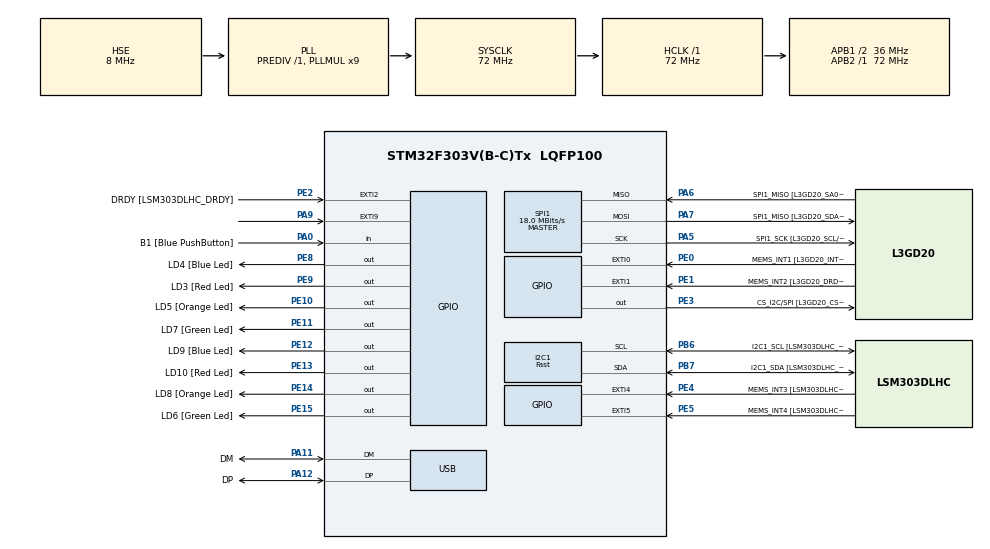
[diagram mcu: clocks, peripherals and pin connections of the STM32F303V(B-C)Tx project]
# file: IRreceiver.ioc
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I2C1.I2C_Speed_Mode=I2C_Fast
I2C1.Timing=0x0000020B
I2C1.Timing-I2C=0x2000090E
Mcu.Family=STM32F3
Mcu.Name=STM32F303V(B-C)Tx
Mcu.Package=LQFP100
NVIC.EXTI9_5_IRQn=true\:0\:0\:false\:false\:true\:true\:true\:true
NVIC.PriorityGroup=NVIC_PRIORITYGROUP_0
PA0.GPIO_Label=B1 [Blue PushButton]
PA0.Signal=GPIO_Input
PA11.GPIO_Label=DM
PA11.Mode=Device
PA11.Signal=USB_DM
PA12.GPIO_Label=DP
PA12.Mode=Device
PA12.Signal=USB_DP
PA13.GPIO_Label=SWDIO
PA13.Mode=Serial_Wire
PA13.Signal=SYS_JTMS-SWDIO
PA14.GPIO_Label=SWCLK
PA14.Mode=Serial_Wire
PA14.Signal=SYS_JTCK-SWCLK
PA5.GPIO_Label=SPI1_SCK [L3GD20_SCL/SPC]
PA5.Mode=Full_Duplex_Master
PA5.Signal=SPI1_SCK
PA6.GPIO_Label=SPI1_MISO [L3GD20_SA0/SDO]
PA6.Mode=Full_Duplex_Master
PA6.Signal=SPI1_MISO
PA7.GPIO_Label=SPI1_MISO [L3GD20_SDA/SDI/SDO]
PA7.Mode=Full_Duplex_Master
PA7.Signal=SPI1_MOSI
PA9.GPIO_ModeDefaultEXTI=GPIO_MODE_IT_FALLING
PA9.Signal=GPXTI9
PB3.GPIO_Label=SWO
PB3.Signal=SYS_JTDO-TRACESWO
PB6.GPIO_Label=I2C1_SCL [LSM303DLHC_SCL]
PB6.GPIO_Pu=GPIO_PULLUP
PB6.Mode=I2C
PB6.Signal=I2C1_SCL
PB7.GPIO_Label=I2C1_SDA [LSM303DLHC_SDA]
PB7.GPIO_Pu=GPIO_PULLUP
PB7.Mode=I2C
PB7.Signal=I2C1_SDA
PC14-OSC32_IN.GPIO_Label=OSC32_IN
PC14-OSC32_IN.Signal=RCC_OSC32_IN
PC15-OSC32_OUT.GPIO_Label=OSC32_OUT
PC15-OSC32_OUT.Signal=RCC_OSC32_OUT
PE0.GPIO_Label=MEMS_INT1 [L3GD20_INT1]
PE0.GPIO_ModeDefaultEXTI=GPIO_MODE_EVT_RISING
PE0.Signal=GPXTI0
PE1.GPIO_Label=MEMS_INT2 [L3GD20_DRDY/INT2]
PE1.GPIO_ModeDefaultEXTI=GPIO_MODE_EVT_RISING
PE1.Signal=GPXTI1
PE10.GPIO_Label=LD5 [Orange Led]
PE10.Signal=GPIO_Output
PE11.GPIO_Label=LD7 [Green Led]
PE11.Signal=GPIO_Output
PE12.GPIO_Label=LD9 [Blue Led]
PE12.Signal=GPIO_Output
PE13.GPIO_Label=LD10 [Red Led]
PE13.Signal=GPIO_Output
PE14.GPIO_Label=LD8 [Orange Led]
PE14.Signal=GPIO_Output
PE15.GPIO_Label=LD6 [Green Led]
PE15.Signal=GPIO_Output
PE2.GPIO_Label=DRDY [LSM303DLHC_DRDY]
PE2.GPIO_ModeDefaultEXTI=GPIO_MODE_EVT_RISING
PE2.Signal=GPXTI2
PE3.GPIO_Label=CS_I2C/SPI [L3GD20_CS_I2C/SPI]
PE3.Signal=GPIO_Output
PE4.GPIO_Label=MEMS_INT3 [LSM303DLHC_INT1]
PE4.GPIO_ModeDefaultEXTI=GPIO_MODE_EVT_RISING
PE4.Signal=GPXTI4
PE5.GPIO_Label=MEMS_INT4 [LSM303DLHC_INT2]
PE5.GPIO_ModeDefaultEXTI=GPIO_MODE_EVT_RISING
PE5.Signal=GPXTI5
PE8.GPIO_Label=LD4 [Blue Led]
PE8.Signal=GPIO_Output
PE9.GPIO_Label=LD3 [Red Led]
PE9.Signal=GPIO_Output
PF0-OSC_IN.GPIO_Label=OSC_IN
PF0-OSC_IN.Mode=HSE-External-Oscillator
PF0-OSC_IN.Signal=RCC_OSC_IN
PF1-OSC_OUT.GPIO_Label=OSC_OUT
PF1-OSC_OUT.Mode=HSE-External-Oscillator
PF1-OSC_OUT.Signal=RCC_OSC_OUT
ProjectManager.HeapSize=0x200
ProjectManager.StackSize=0x400
ProjectManager.TargetToolchain=STM32CubeIDE
RCC.AHBFreq_Value=72000000
RCC.APB1CLKDivider=RCC_HCLK_DIV2
RCC.APB1Freq_Value=36000000
RCC.APB1TimFreq_Value=72000000
RCC.APB2Freq_Value=72000000
RCC.APB2TimFreq_Value=72000000
RCC.CortexFreq_Value=72000000
RCC.HCLKFreq_Value=72000000
RCC.HSE_VALUE=8000000
RCC.HSI_VALUE=8000000
RCC.LSE_VALUE=32768
RCC.PLLMUL=RCC_PLL_MUL9
RCC.PRESCALERUSB=RCC_USBCLKSOURCE_PLL_DIV1_5
RCC.SYSCLKFreq_VALUE=72000000
RCC.SYSCLKSourceVirtual=RCC_SYSCLKSOURCE_PLLCLK
RCC.USBFreq_Value=48000000
SPI1.BaudRatePrescaler=SPI_BAUDRATEPRESCALER_4
SPI1.BaudRatePrescaler-Full_Duplex_Master=SPI_BAUDRATEPRESCALER_2
SPI1.CalculateBaudRate=18.0 MBits/s
SPI1.CalculateBaudRate-Full_Duplex_Master=24.0 MBits/s
SPI1.Direction=SPI_DIRECTION_2LINES
SPI1.Mode=SPI_MODE_MASTER
SPI1.Mode-Full_Duplex_Master=SPI_MODE_MASTER
SPI1.VirtualType=VM_MASTER
TIM1.Prescaler=71
VP_TIM1_VS_ClockSourceINT.Mode=Internal
board=STM32F3DISCOVERY

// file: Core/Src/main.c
/* USER CODE BEGIN Header */
/**
  ******************************************************************************
  * @file           : main.c
  * @brief          : Main program body
  ******************************************************************************
  * @attention
  *
  * Copyright (c) 2023 STMicroelectronics.
  * All rights reserved.
  *
  * This software is licensed under terms that can be found in the LICENSE file
  * in the root directory of this software component.
  * If no LICENSE file comes with this software, it is provided AS-IS.
  *
  ******************************************************************************
  */
/* USER CODE END Header */
#include "main.h"

/* USER CODE BEGIN Includes */
#include "lcd.h"
/* USER CODE END Includes */

I2C_HandleTypeDef hi2c1;

SPI_HandleTypeDef hspi1;

TIM_HandleTypeDef htim1;

PCD_HandleTypeDef hpcd_USB_FS;

/* USER CODE BEGIN PV */
uint32_t tempCode;
uint8_t bitIndex;
uint8_t cmd;
uint8_t cmdli;
uint32_t code;
/* USER CODE END PV */

void SystemClock_Config(void);
static void MX_GPIO_Init(void);
static void MX_I2C1_Init(void);
static void MX_SPI1_Init(void);
static void MX_USB_PCD_Init(void);
static void MX_TIM1_Init(void);

int main(void)
{

	/* MCU Configuration--------------------------------------------------------*/

	/* Reset of all peripherals, Initializes the Flash interface and the Systick. */
	HAL_Init();

	/* Configure the system clock */
	SystemClock_Config();

	/* Initialize all configured peripherals */
	MX_GPIO_Init();
	MX_I2C1_Init();
	MX_SPI1_Init();
	MX_USB_PCD_Init();
	MX_TIM1_Init();
	/* USER CODE BEGIN 2 */

	RCC->AHBENR |= RCC_AHBENR_GPIOEEN | RCC_AHBENR_GPIODEN;
	initialise_board();

	HAL_TIM_Base_Start(&htim1);
	__HAL_TIM_SET_COUNTER(&htim1, 0);

	/* USER CODE END 2 */

	/* Infinite loop */
	while (1)
	{

	}
}

void SystemClock_Config(void)
{
  RCC_OscInitTypeDef RCC_OscInitStruct = {0};
  RCC_ClkInitTypeDef RCC_ClkInitStruct = {0};
  RCC_PeriphCLKInitTypeDef PeriphClkInit = {0};

  /** Initializes the RCC Oscillators according to the specified parameters
  * in the RCC_OscInitTypeDef structure.
  */
  RCC_OscInitStruct.OscillatorType = RCC_OSCILLATORTYPE_HSI|RCC_OSCILLATORTYPE_HSE;
  RCC_OscInitStruct.HSEState = RCC_HSE_ON;
  RCC_OscInitStruct.HSEPredivValue = RCC_HSE_PREDIV_DIV1;
  RCC_OscInitStruct.HSIState = RCC_HSI_ON;
  RCC_OscInitStruct.HSICalibrationValue = RCC_HSICALIBRATION_DEFAULT;
  RCC_OscInitStruct.PLL.PLLState = RCC_PLL_ON;
  RCC_OscInitStruct.PLL.PLLSource = RCC_PLLSOURCE_HSE;
  RCC_OscInitStruct.PLL.PLLMUL = RCC_PLL_MUL9;
  if (HAL_RCC_OscConfig(&RCC_OscInitStruct) != HAL_OK)
  {
    Error_Handler();
  }

  /** Initializes the CPU, AHB and APB buses clocks
  */
  RCC_ClkInitStruct.ClockType = RCC_CLOCKTYPE_HCLK|RCC_CLOCKTYPE_SYSCLK
                              |RCC_CLOCKTYPE_PCLK1|RCC_CLOCKTYPE_PCLK2;
  RCC_ClkInitStruct.SYSCLKSource = RCC_SYSCLKSOURCE_PLLCLK;
  RCC_ClkInitStruct.AHBCLKDivider = RCC_SYSCLK_DIV1;
  RCC_ClkInitStruct.APB1CLKDivider = RCC_HCLK_DIV2;
  RCC_ClkInitStruct.APB2CLKDivider = RCC_HCLK_DIV1;

  if (HAL_RCC_ClockConfig(&RCC_ClkInitStruct, FLASH_LATENCY_2) != HAL_OK)
  {
    Error_Handler();
  }
  PeriphClkInit.PeriphClockSelection = RCC_PERIPHCLK_USB|RCC_PERIPHCLK_I2C1
                              |RCC_PERIPHCLK_TIM1;
  PeriphClkInit.I2c1ClockSelection = RCC_I2C1CLKSOURCE_HSI;
  PeriphClkInit.USBClockSelection = RCC_USBCLKSOURCE_PLL_DIV1_5;
  PeriphClkInit.Tim1ClockSelection = RCC_TIM1CLK_HCLK;
  if (HAL_RCCEx_PeriphCLKConfig(&PeriphClkInit) != HAL_OK)
  {
    Error_Handler();
  }
}

static void MX_I2C1_Init(void)
{

  hi2c1.Instance = I2C1;
  hi2c1.Init.Timing = 0x0000020B;
  hi2c1.Init.OwnAddress1 = 0;
  hi2c1.Init.AddressingMode = I2C_ADDRESSINGMODE_7BIT;
  hi2c1.Init.DualAddressMode = I2C_DUALADDRESS_DISABLE;
  hi2c1.Init.OwnAddress2 = 0;
  hi2c1.Init.OwnAddress2Masks = I2C_OA2_NOMASK;
  hi2c1.Init.GeneralCallMode = I2C_GENERALCALL_DISABLE;
  hi2c1.Init.NoStretchMode = I2C_NOSTRETCH_DISABLE;
  if (HAL_I2C_Init(&hi2c1) != HAL_OK)
  {
    Error_Handler();
  }

  /** Configure Analogue filter
  */
  if (HAL_I2CEx_ConfigAnalogFilter(&hi2c1, I2C_ANALOGFILTER_ENABLE) != HAL_OK)
  {
    Error_Handler();
  }

  /** Configure Digital filter
  */
  if (HAL_I2CEx_ConfigDigitalFilter(&hi2c1, 0) != HAL_OK)
  {
    Error_Handler();
  }

}

static void MX_SPI1_Init(void)
{

  /* SPI1 parameter configuration*/
  hspi1.Instance = SPI1;
  hspi1.Init.Mode = SPI_MODE_MASTER;
  hspi1.Init.Direction = SPI_DIRECTION_2LINES;
  hspi1.Init.DataSize = SPI_DATASIZE_4BIT;
  hspi1.Init.CLKPolarity = SPI_POLARITY_LOW;
  hspi1.Init.CLKPhase = SPI_PHASE_1EDGE;
  hspi1.Init.NSS = SPI_NSS_SOFT;
  hspi1.Init.BaudRatePrescaler = SPI_BAUDRATEPRESCALER_4;
  hspi1.Init.FirstBit = SPI_FIRSTBIT_MSB;
  hspi1.Init.TIMode = SPI_TIMODE_DISABLE;
  hspi1.Init.CRCCalculation = SPI_CRCCALCULATION_DISABLE;
  hspi1.Init.CRCPolynomial = 7;
  hspi1.Init.CRCLength = SPI_CRC_LENGTH_DATASIZE;
  hspi1.Init.NSSPMode = SPI_NSS_PULSE_ENABLE;
  if (HAL_SPI_Init(&hspi1) != HAL_OK)
  {
    Error_Handler();
  }

}

static void MX_TIM1_Init(void)
{

  TIM_ClockConfigTypeDef sClockSourceConfig = {0};
  TIM_MasterConfigTypeDef sMasterConfig = {0};

  htim1.Instance = TIM1;
  htim1.Init.Prescaler = 71;
  htim1.Init.CounterMode = TIM_COUNTERMODE_UP;
  htim1.Init.Period = 65535;
  htim1.Init.ClockDivision = TIM_CLOCKDIVISION_DIV1;
  htim1.Init.RepetitionCounter = 0;
  htim1.Init.AutoReloadPreload = TIM_AUTORELOAD_PRELOAD_DISABLE;
  if (HAL_TIM_Base_Init(&htim1) != HAL_OK)
  {
    Error_Handler();
  }
  sClockSourceConfig.ClockSource = TIM_CLOCKSOURCE_INTERNAL;
  if (HAL_TIM_ConfigClockSource(&htim1, &sClockSourceConfig) != HAL_OK)
  {
    Error_Handler();
  }
  sMasterConfig.MasterOutputTrigger = TIM_TRGO_RESET;
  sMasterConfig.MasterOutputTrigger2 = TIM_TRGO2_RESET;
  sMasterConfig.MasterSlaveMode = TIM_MASTERSLAVEMODE_DISABLE;
  if (HAL_TIMEx_MasterConfigSynchronization(&htim1, &sMasterConfig) != HAL_OK)
  {
    Error_Handler();
  }

}

static void MX_USB_PCD_Init(void)
{

  hpcd_USB_FS.Instance = USB;
  hpcd_USB_FS.Init.dev_endpoints = 8;
  hpcd_USB_FS.Init.speed = PCD_SPEED_FULL;
  hpcd_USB_FS.Init.phy_itface = PCD_PHY_EMBEDDED;
  hpcd_USB_FS.Init.low_power_enable = DISABLE;
  hpcd_USB_FS.Init.battery_charging_enable = DISABLE;
  if (HAL_PCD_Init(&hpcd_USB_FS) != HAL_OK)
  {
    Error_Handler();
  }

}

static void MX_GPIO_Init(void)
{
  GPIO_InitTypeDef GPIO_InitStruct = {0};

  /* GPIO Ports Clock Enable */
  __HAL_RCC_GPIOE_CLK_ENABLE();
  __HAL_RCC_GPIOC_CLK_ENABLE();
  __HAL_RCC_GPIOF_CLK_ENABLE();
  __HAL_RCC_GPIOA_CLK_ENABLE();
  __HAL_RCC_GPIOB_CLK_ENABLE();

  /*Configure GPIO pin Output Level */
  HAL_GPIO_WritePin(GPIOE, CS_I2C_SPI_Pin|LD4_Pin|LD3_Pin|LD5_Pin
                          |LD7_Pin|LD9_Pin|LD10_Pin|LD8_Pin
                          |LD6_Pin, GPIO_PIN_RESET);

  /*Configure GPIO pins : DRDY_Pin MEMS_INT3_Pin MEMS_INT4_Pin MEMS_INT1_Pin
                           MEMS_INT2_Pin */
  GPIO_InitStruct.Pin = DRDY_Pin|MEMS_INT3_Pin|MEMS_INT4_Pin|MEMS_INT1_Pin
                          |MEMS_INT2_Pin;
  GPIO_InitStruct.Mode = GPIO_MODE_EVT_RISING;
  GPIO_InitStruct.Pull = GPIO_NOPULL;
  HAL_GPIO_Init(GPIOE, &GPIO_InitStruct);

  /*Configure GPIO pins : CS_I2C_SPI_Pin LD4_Pin LD3_Pin LD5_Pin
                           LD7_Pin LD9_Pin LD10_Pin LD8_Pin
                           LD6_Pin */
  GPIO_InitStruct.Pin = CS_I2C_SPI_Pin|LD4_Pin|LD3_Pin|LD5_Pin
                          |LD7_Pin|LD9_Pin|LD10_Pin|LD8_Pin
                          |LD6_Pin;
  GPIO_InitStruct.Mode = GPIO_MODE_OUTPUT_PP;
  GPIO_InitStruct.Pull = GPIO_NOPULL;
  GPIO_InitStruct.Speed = GPIO_SPEED_FREQ_LOW;
  HAL_GPIO_Init(GPIOE, &GPIO_InitStruct);

  /*Configure GPIO pin : B1_Pin */
  GPIO_InitStruct.Pin = B1_Pin;
  GPIO_InitStruct.Mode = GPIO_MODE_INPUT;
  GPIO_InitStruct.Pull = GPIO_NOPULL;
  HAL_GPIO_Init(B1_GPIO_Port, &GPIO_InitStruct);

  /*Configure GPIO pin : PA9 */
  GPIO_InitStruct.Pin = GPIO_PIN_9;
  GPIO_InitStruct.Mode = GPIO_MODE_IT_FALLING;
  GPIO_InitStruct.Pull = GPIO_NOPULL;
  HAL_GPIO_Init(GPIOA, &GPIO_InitStruct);

  /* EXTI interrupt init*/
  HAL_NVIC_SetPriority(EXTI9_5_IRQn, 0, 0);
  HAL_NVIC_EnableIRQ(EXTI9_5_IRQn);

}

/* USER CODE BEGIN 4 */

void HAL_GPIO_EXTI_Callback(uint16_t GPIO_Pin)
{
  if(GPIO_Pin == GPIO_PIN_9)
  {
    if (__HAL_TIM_GET_COUNTER(&htim1) > 8000)
    {
      tempCode = 0;
      bitIndex = 0;
    }
    else if (__HAL_TIM_GET_COUNTER(&htim1) > 1700)
    {
      tempCode |= (1UL << (31-bitIndex));   // write 1
      bitIndex++;
    }
    else if (__HAL_TIM_GET_COUNTER(&htim1) > 1000)
    {
      tempCode &= ~(1UL << (31-bitIndex));  // write 0
      bitIndex++;
    }
    if(bitIndex == 32)
    {
      cmdli = ~tempCode; // Logical inverted last 8 bits
      cmd = tempCode >> 8; // Second last 8 bits
      if(cmdli == cmd) // Check for errors
      {
        code = tempCode; // If no bit errors
        // Do your main work HERE

        switch (code)
        {
          case (16753245):
//            SSD1306_Puts ("CH-", &Font_16x26, 1);

            break;

          case (16736925):
//            SSD1306_Puts ("CH", &Font_16x26, 1);

            break;

          case (16769565):
//            SSD1306_Puts ("CH+", &Font_16x26, 1);

            break;

          case (16720605):
//            SSD1306_Puts ("|<<", &Font_16x26, 1);

            break;

          case (16712445):
//            SSD1306_Puts (">>|", &Font_16x26, 1);

            break;

          case (16761405):
//            SSD1306_Puts (">||", &Font_16x26, 1);

            break;

          case (16769055):
//            SSD1306_Puts ("-", &Font_16x26, 1);

            break;

          case (16754775):
//            SSD1306_Puts ("+", &Font_16x26, 1);

            break;

          case (16748655):
//            SSD1306_Puts ("EQ", &Font_16x26, 1);

            break;

          case (16738455):
//            SSD1306_Puts ("0", &Font_16x26, 1);

            break;

          case (16750695):
//            SSD1306_Puts ("100+", &Font_16x26, 1);

            break;

          case (16756815):
//            SSD1306_Puts ("200+", &Font_16x26, 1);

            break;

          case (16724175):
//            SSD1306_Puts ("1", &Font_16x26, 1);

            break;

          case (16718055):
//            SSD1306_Puts ("2", &Font_16x26, 1);

            break;

          case (16743045):
//            SSD1306_Puts ("3", &Font_16x26, 1);

            break;

          case (16716015):
//            SSD1306_Puts ("4", &Font_16x26, 1);

            break;

          case (16726215):
//            SSD1306_Puts ("5", &Font_16x26, 1);

            break;

          case (16734885):
//            SSD1306_Puts ("6", &Font_16x26, 1);

            break;

          case (16728765):
//            SSD1306_Puts ("7", &Font_16x26, 1);

            break;

          case (16730805):
//            SSD1306_Puts ("8", &Font_16x26, 1);

            break;

          case (16732845):
//            SSD1306_Puts ("9", &Font_16x26, 1);

            break;

          default :
            break;
        }
      }
    bitIndex = 0;
    }
  __HAL_TIM_SET_COUNTER(&htim1, 0);
  }
}

void initialise_board() {
	// get a pointer to the second half word of the MODER register (for outputs pe8-15)
	uint16_t *led_output_registers = ((uint16_t *)&(GPIOE->MODER)) + 1;
	*led_output_registers = 0x5555;
}

/* USER CODE END 4 */

void Error_Handler(void)
{
  __disable_irq();
  while (1)
  {
  }
}
